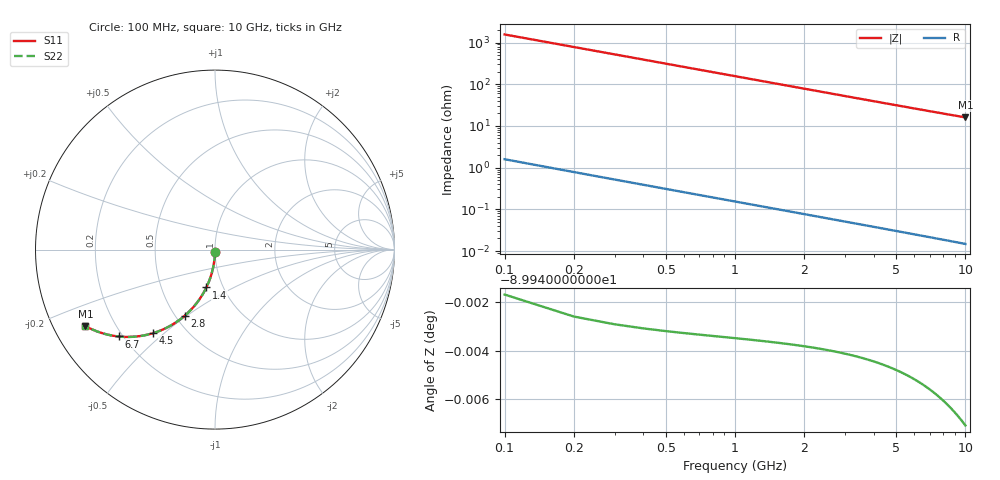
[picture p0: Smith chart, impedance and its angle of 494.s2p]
# Hz S RI R 50.00
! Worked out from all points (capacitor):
!   100 points, 100 MHz to 10 GHz, reference 50 ohm
!   read as one part in shunt: C = 1.02 pF near 100 MHz
!   lowest |Z| = 16 ohm at 10 GHz (marker M1)
!   S11 on the Smith chart (normalised r, x): 100 MHz: 1.00, -0.03; 1.4 GHz: 0.83, -0.37; 2.8 GHz: 0.56, -0.49; 4.5 GHz: 0.33, -0.46; 6.7 GHz: 0.18, -0.37; 10 GHz: 0.09, -0.27
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1e8  -0.000237 -0.0158  0.9997 -0.0162  0.9997 -0.0162  -0.000237 -0.0158
2e8  -0.00102 -0.0316  0.9989 -0.0324  0.9989 -0.0324  -0.00102 -0.0316
3e8  -0.00232 -0.0473  0.9976 -0.0486  0.9976 -0.0486  -0.00232 -0.0473
4e8  -0.00412 -0.063  0.9958 -0.0647  0.9958 -0.0647  -0.00412 -0.063
5e8  -0.00642 -0.0786  0.9935 -0.0806  0.9935 -0.0806  -0.00642 -0.0786
6e8  -0.00922 -0.094  0.9907 -0.0965  0.9907 -0.0965  -0.00922 -0.094
7e8  -0.0125 -0.1093  0.9874 -0.1122  0.9874 -0.1122  -0.0125 -0.1093
9e8  -0.0205 -0.1394  0.9794 -0.1431  0.9794 -0.1431  -0.0205 -0.1394
1.1e9  -0.0303 -0.1687  0.9697 -0.1732  0.9697 -0.1732  -0.0303 -0.1687
1.4e9  -0.0481 -0.2107  0.9518 -0.2164  0.9518 -0.2164  -0.0481 -0.2107
1.8e9  -0.077 -0.2625  0.9229 -0.2699  0.9229 -0.2699  -0.077 -0.2625
2.3e9  -0.1199 -0.3196  0.88 -0.3291  0.88 -0.3291  -0.1199 -0.3196
2.8e9  -0.1679 -0.3676  0.8319 -0.3791  0.8319 -0.3791  -0.1679 -0.3676
3.4e9  -0.2293 -0.4129  0.7705 -0.427  0.7705 -0.427  -0.2293 -0.4129
3.9e9  -0.2814 -0.4411  0.7184 -0.4573  0.7184 -0.4573  -0.2814 -0.4411
4.5e9  -0.3428 -0.4648  0.657 -0.4836  0.657 -0.4836  -0.3428 -0.4648
5.1e9  -0.4013 -0.479  0.5984 -0.5004  0.5984 -0.5004  -0.4013 -0.479
5.9e9  -0.4731 -0.4864  0.5265 -0.5112  0.5265 -0.5112  -0.4731 -0.4864
6.7e9  -0.5369 -0.484  0.4626 -0.5123  0.4626 -0.5123  -0.5369 -0.484
7.5e9  -0.5926 -0.4749  0.4068 -0.5067  0.4068 -0.5067  -0.5926 -0.4749
8.4e9  -0.6464 -0.4595  0.3528 -0.4954  0.3528 -0.4954  -0.6464 -0.4595
1e10  -0.7223 -0.4256  0.2767 -0.4686  0.2767 -0.4686  -0.7223 -0.4256
